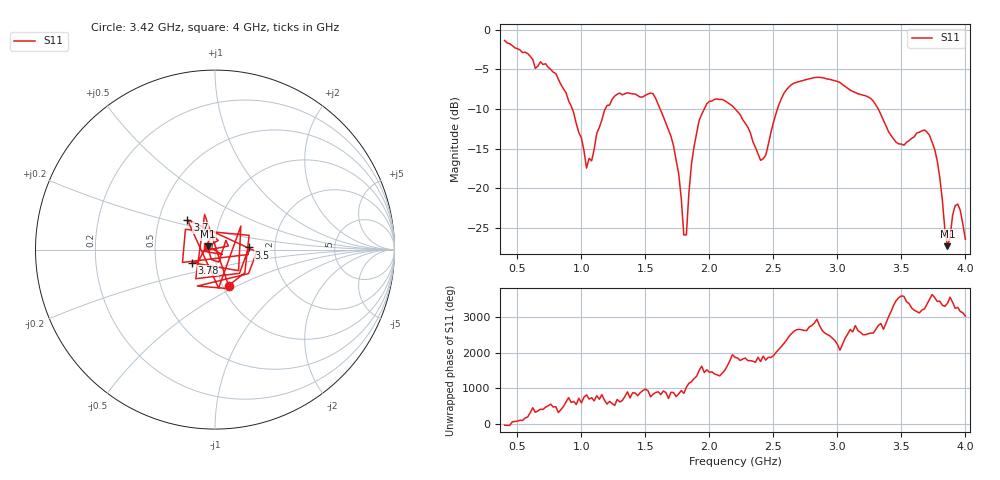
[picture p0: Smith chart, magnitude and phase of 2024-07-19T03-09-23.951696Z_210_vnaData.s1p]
!Created with skrf (http://scikit-rf.org).
# Hz S RI R 50.0
!freq ReS11 ImS11
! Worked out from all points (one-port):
!   181 points, 400 MHz to 4 GHz, reference 50 ohm
!   lowest |S11| = -27.3 dB at 3.86 GHz (marker M1), VSWR 1.09, Z = 46.2 + j1.62 ohm
!   |S11| at or under -10 dB: 1.615 GHz to 1.961 GHz (345.5 MHz wide, 19.3 % of centre); 2.201 GHz to 2.532 GHz (331.4 MHz wide, 14 % of centre); 3.32 GHz to end of sweep (the widest 3 of 4)
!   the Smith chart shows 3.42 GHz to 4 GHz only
!   S11 on the Smith chart (normalised r, x): 3.42 GHz: 1.07, -0.45; 3.5 GHz: 1.47, +0.04; 3.7 GHz: 0.70, +0.24; 3.78 GHz: 0.76, -0.11; 4 GHz: 0.92, +0.04
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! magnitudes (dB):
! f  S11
! 400 MHz  -1.4
! 860 MHz  -7.5
! 1 GHz  -13.7
! 1.04 GHz  -17.5
! 1.18 GHz  -10.2
! 1.3 GHz  -8.0
! 1.56 GHz  -8.1
! 1.7 GHz  -13.5
! 1.76 GHz  -18.2
! 1.8 GHz  -25.9
! 1.82 GHz  -25.9
! 1.86 GHz  -17.0
! 1.92 GHz  -11.4
! 2.04 GHz  -8.8
! 2.2 GHz  -10.0
! 2.4 GHz  -16.5
! 2.56 GHz  -8.8
! 2.66 GHz  -6.7
! 3.1 GHz  -7.6
! 3.28 GHz  -9.0
! 3.42 GHz  -13.4
! 3.5 GHz  -14.4
! 3.56 GHz  -14.0
! 3.7 GHz  -12.9
! 3.78 GHz  -16.6
! 3.86 GHz  -27.3
! 3.94 GHz  -22.0
! 4 GHz  -26.5
